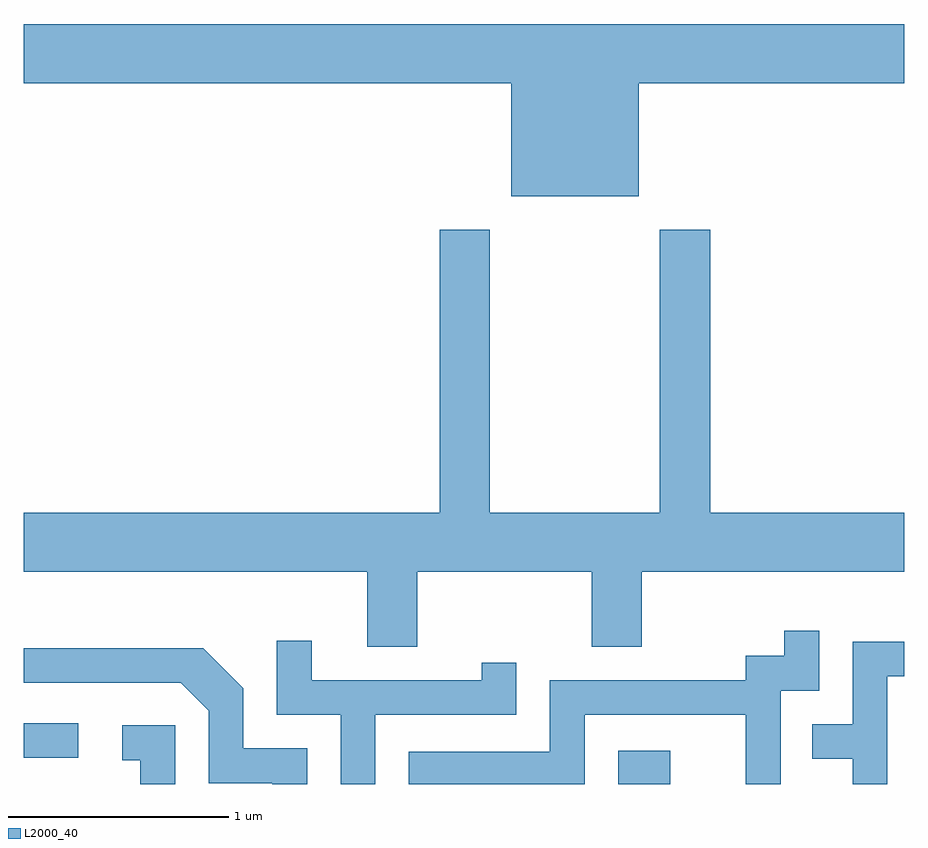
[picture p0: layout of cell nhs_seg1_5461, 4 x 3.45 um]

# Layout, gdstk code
import gdstk
lib = gdstk.Library(unit=1e-6, precision=1e-09)
def R(c, l, rs):  # rectangles x0, y0, x1, y1
    for r in rs: c.add(gdstk.rectangle(r[:2], r[2:], *l))
def P(c, l, *ps):  # polygons
    for p in ps: c.add(gdstk.Polygon(p, *l))
L2000_40 = (2000, 40)

nhs_seg1_5461 = lib.new_cell('nhs_seg1_5461')
R(nhs_seg1_5461, L2000_40, [(352.311,909.712,352.548,909.864), (349.611,909.831,349.858,909.989)])
P(nhs_seg1_5461, L2000_40, [(352.404,912.896),(353.611,912.896),(353.611,913.164),(349.611,913.164),(349.611,912.896),(351.826,912.896),(351.826,912.381),(352.404,912.381)],
  [(351.399,910.676),(352.191,910.676),(352.191,910.336),(352.419,910.336),(352.419,910.676),(353.611,910.676),(353.611,910.944),(352.729,910.944),(352.729,912.229),(352.501,912.229),(352.501,910.944),(351.729,910.944),(351.729,912.229),(351.501,912.229),(351.501,910.944),(349.611,910.944),(349.611,910.676),(351.171,910.676),(351.171,910.336),(351.399,910.336)],
  [(352.159,910.026),(352.891,910.026),(352.891,909.712),(353.049,909.712),(353.049,910.136),(353.224,910.136),(353.224,910.408),(353.066,910.408),(353.066,910.294),(352.891,910.294),(352.891,910.184),(352.001,910.184),(352.001,909.859),(351.361,909.859),(351.361,909.712),(352.159,909.712)],
  [(351.209,910.026),(351.849,910.026),(351.849,910.263),(351.691,910.263),(351.691,910.184),(350.919,910.184),(350.919,910.363),(350.761,910.363),(350.761,910.026),(351.051,910.026),(351.051,909.712),(351.209,909.712)],
  [(353.534,910.201),(353.611,910.201),(353.611,910.359),(353.376,910.359),(353.376,909.984),(353.193,909.984),(353.193,909.826),(353.376,909.826),(353.376,909.712),(353.534,909.712)],
  [(350.899,909.874),(350.609,909.874),(350.609,910.147),(350.427,910.329),(349.611,910.329),(349.611,910.171),(350.324,910.171),(350.451,910.044),(350.451,909.716),(350.741,909.716),(350.741,909.712),(350.899,909.712)],
  [(350.299,909.979),(350.058,909.979),(350.058,909.821),(350.141,909.821),(350.141,909.712),(350.299,909.712)])

lib.write_gds('nhs_seg1_5461.gds')
